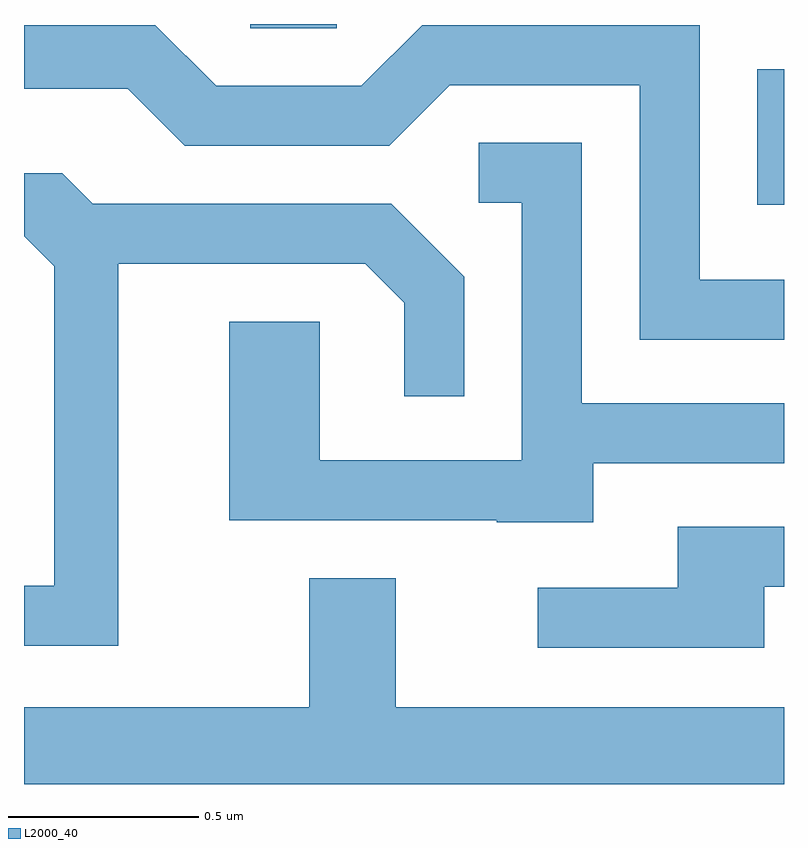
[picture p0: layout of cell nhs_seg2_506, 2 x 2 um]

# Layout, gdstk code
import gdstk
lib = gdstk.Library(unit=1e-6, precision=1e-09)
def R(c, l, rs):  # rectangles x0, y0, x1, y1
    for r in rs: c.add(gdstk.rectangle(r[:2], r[2:], *l))
def P(c, l, *ps):  # polygons
    for p in ps: c.add(gdstk.Polygon(p, *l))
L2000_40 = (2000, 40)

nhs_seg2_506 = lib.new_cell('nhs_seg2_506')
R(nhs_seg2_506, L2000_40, [(190.541,1074.326,190.611,1074.683), (189.206,1074.791,189.434,1074.802)])
P(nhs_seg2_506, L2000_40, [(190.611,1074.129),(190.389,1074.129),(190.389,1074.799),(189.659,1074.799),(189.499,1074.639),(189.117,1074.639),(188.957,1074.799),(188.611,1074.799),(188.611,1074.631),(188.884,1074.631),(189.034,1074.481),(189.572,1074.481),(189.732,1074.641),(190.231,1074.641),(190.231,1073.971),(190.611,1073.971)],
  [(190.109,1073.646),(190.611,1073.646),(190.611,1073.804),(190.079,1073.804),(190.079,1074.489),(189.808,1074.489),(189.808,1074.331),(189.921,1074.331),(189.921,1073.654),(189.389,1073.654),(189.389,1074.019),(189.151,1074.019),(189.151,1073.496),(189.855,1073.496),(189.855,1073.491),(190.109,1073.491)],
  [(188.859,1074.171),(189.509,1074.171),(189.611,1074.069),(189.611,1073.823),(189.769,1073.823),(189.769,1074.137),(189.577,1074.329),(188.792,1074.329),(188.712,1074.409),(188.611,1074.409),(188.611,1074.244),(188.691,1074.164),(188.691,1073.324),(188.611,1073.324),(188.611,1073.166),(188.859,1073.166)],
  [(190.559,1073.321),(190.611,1073.321),(190.611,1073.479),(190.331,1073.479),(190.331,1073.319),(189.963,1073.319),(189.963,1073.161),(190.559,1073.161)],
  [(190.611,1073.004),(189.589,1073.004),(189.589,1073.344),(189.361,1073.344),(189.361,1073.004),(188.611,1073.004),(188.611,1072.802),(190.611,1072.802)])

lib.write_gds('nhs_seg2_506.gds')
